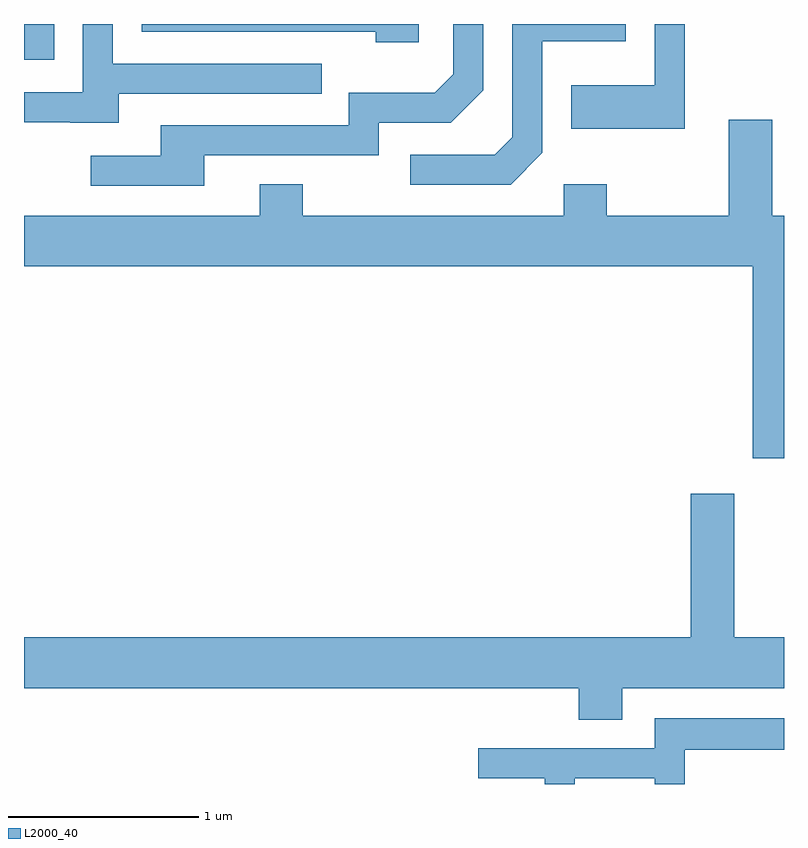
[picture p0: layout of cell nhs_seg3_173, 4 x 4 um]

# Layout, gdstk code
import gdstk
lib = gdstk.Library(unit=1e-6, precision=1e-09)
def R(c, l, rs):  # rectangles x0, y0, x1, y1
    for r in rs: c.add(gdstk.rectangle(r[:2], r[2:], *l))
def P(c, l, *ps):  # polygons
    for p in ps: c.add(gdstk.Polygon(p, *l))
L2000_40 = (2000, 40)

nhs_seg3_173 = lib.new_cell('nhs_seg3_173')
R(nhs_seg3_173, L2000_40, [(189.611,1193.703,189.769,1193.892)])
P(nhs_seg3_173, L2000_40, [(193.089,1193.892),(192.931,1193.892),(192.931,1193.569),(192.491,1193.569),(192.491,1193.341),(193.089,1193.341)],
  [(190.109,1193.526),(191.178,1193.526),(191.178,1193.684),(190.079,1193.684),(190.079,1193.892),(189.921,1193.892),(189.921,1193.534),(189.611,1193.534),(189.611,1193.376),(189.855,1193.376),(189.855,1193.371),(190.109,1193.371)],
  [(190.559,1193.201),(191.479,1193.201),(191.479,1193.371),(191.857,1193.371),(192.029,1193.544),(192.029,1193.892),(191.871,1193.892),(191.871,1193.627),(191.774,1193.529),(191.321,1193.529),(191.321,1193.359),(190.331,1193.359),(190.331,1193.199),(189.963,1193.199),(189.963,1193.041),(190.559,1193.041)],
  [(191.689,1193.892),(190.231,1193.892),(190.231,1193.851),(191.461,1193.851),(191.461,1193.796),(191.689,1193.796)],
  [(192.339,1193.214),(192.339,1193.801),(192.779,1193.801),(192.779,1193.892),(192.181,1193.892),(192.181,1193.297),(192.089,1193.204),(191.643,1193.204),(191.643,1193.046),(192.172,1193.046)],
  [(193.611,1192.884),(193.549,1192.884),(193.549,1193.389),(193.321,1193.389),(193.321,1192.884),(192.679,1192.884),(192.679,1193.049),(192.451,1193.049),(192.451,1192.884),(191.079,1192.884),(191.079,1193.049),(190.851,1193.049),(190.851,1192.884),(189.611,1192.884),(189.611,1192.616),(193.446,1192.616),(193.446,1191.606),(193.611,1191.606)],
  [(192.759,1190.396),(193.611,1190.396),(193.611,1190.664),(193.349,1190.664),(193.349,1191.419),(193.121,1191.419),(193.121,1190.664),(189.611,1190.664),(189.611,1190.396),(192.531,1190.396),(192.531,1190.231),(192.759,1190.231)],
  [(192.509,1189.921),(192.931,1189.921),(192.931,1189.892),(193.089,1189.892),(193.089,1190.071),(193.611,1190.071),(193.611,1190.239),(192.931,1190.239),(192.931,1190.079),(192.003,1190.079),(192.003,1189.921),(192.351,1189.921),(192.351,1189.892),(192.509,1189.892)])

lib.write_gds('nhs_seg3_173.gds')
